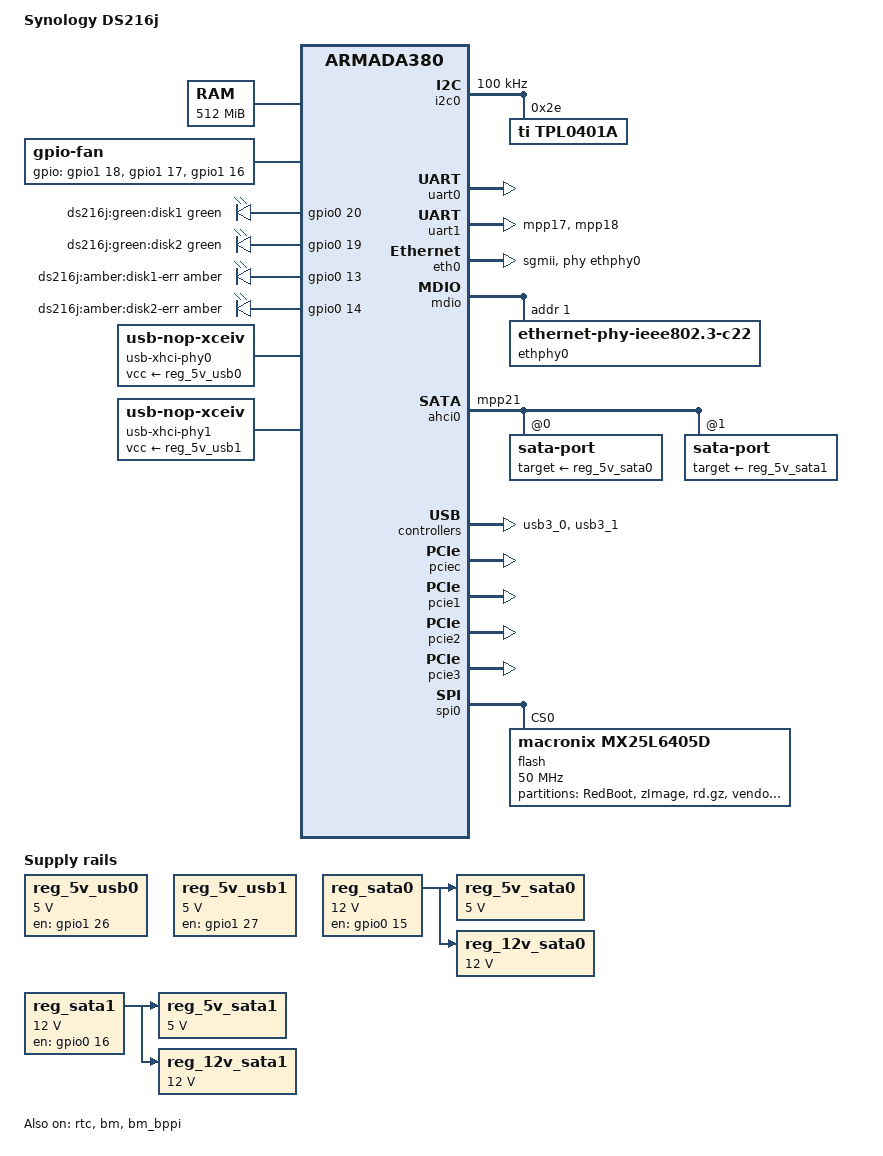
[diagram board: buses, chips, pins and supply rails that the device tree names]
/*
 * Device Tree file for Synology DS216j NAS
 *
 * Copyright (C) 2026 Alexei Evdokimenko <aevdokimenkosd@gmail.com>
 *
 * Based on Device Tree files for:
 *  - Synology DS216 NAS, by Robin DUBREUIL <robin@dubreuil.pro>
 *  - Synology DS116 NAS, by Willy Tarreau <w@1wt.eu>
 *
 * This program is free software; you can redistribute it and/or modify
 * it under the terms of the GNU General Public License as published by
 * the Free Software Foundation; either version 2 of the License, or
 * (at your option) any later version.
 */

/dts-v1/;
#include "armada-385.dtsi"
#include <dt-bindings/gpio/gpio.h>
#include <dt-bindings/leds/common.h>
#include <dt-bindings/input/input.h>

/ {
	model = "Synology DS216j";
	compatible = "synology,DS216j", "marvell,a385-gp", "marvell,armada385",
		     "marvell,armada380";

	chosen {
		stdout-path = "serial0:115200n8";
	};

	aliases {
		ethernet0 = &eth0;
		egiga0 = &eth0;
	};

	memory {
		device_type = "memory";
		reg = <0x00000000 0x20000000>; /* 512 MB */
	};

	soc {
		ranges = <MBUS_ID(0xf0, 0x01) 0 0xf1000000 0x100000
			  MBUS_ID(0x01, 0x1d) 0 0xfff00000 0x100000
			  MBUS_ID(0x09, 0x19) 0 0xf1100000 0x10000
			  MBUS_ID(0x09, 0x15) 0 0xf1110000 0x10000
			  MBUS_ID(0x0c, 0x04) 0 0xf1200000 0x100000>;

		internal-regs {
			poweroff@12100 {
				compatible = "synology,power-off";
				reg = <0x12100 0x100>;
				clocks = <&coreclk 0>;
			};
		};

		gpio-fan {
			compatible = "gpio-fan";
			pinctrl-0 = <&fan_ctrl_low_pins
				     &fan_ctrl_mid_pins
				     &fan_ctrl_high_pins>;
			pinctrl-names = "default";
			gpios = <&gpio1 18 GPIO_ACTIVE_HIGH>,
				<&gpio1 17 GPIO_ACTIVE_HIGH>,
				<&gpio1 16 GPIO_ACTIVE_HIGH>;

			/*
			 * WARNING! This binding causes systemd to consume a lot
			 * of CPU time. You must understand why you are
			 * uncommenting this line.
			 */
			//alarm-gpios = <&gpio1 20 GPIO_ACTIVE_HIGH>;

			/* This speed map must be adapted to your fan model. */
			gpio-fan,speed-map = <   0 0>,
					     < 400 1>,
					     < 900 2>,
					     <1300 3>,
					     <1700 4>,
					     <2100 5>,
					     <2500 6>,
					     <3000 7>;
			#cooling-cells = <2>;
		};

		/*
		 * NOTE: the LAN LED is defined not in this section, but below
		 * in the MDIO, because it is controlled directly from the PHY.
		 */
		gpio-leds {
			compatible = "gpio-leds";
			pinctrl-0 = <&led_green_disk1_pins
				     &led_green_disk2_pins
				     &led_amber_disk1_pins
				     &led_amber_disk2_pins>;

			/*
			 * The green LEDs for the disks were not accessible in
			 * the original device trees because pins 19 and 20
			 * were defined for UART1 and AHCI0. These pins are
			 * actually connected to a controller that drives the
			 * LEDs (at least in the DS216j model). Synology's GPL
			 * source code (see "pinctrl-armada-38x.c") hints that
			 * UART1 can be moved to pins 17 and 18, and AHCI0 to
			 * pin 21, so pins 19 and 20 can be freed up to access
			 * the LEDs.
			 *
			 * NOTE: Synology's "pinctrl-armada-38x.c" file differs
			 * from the one that comes with a modern Linux kernel.
			 *
			 * The config below reproduces the Synology's default
			 * behavior. The LEDs turn on when the disks are powered
			 * on at boot. The LEDs then blink during read/write
			 * activity. When the hd-idle service puts the disks
			 * into standby mode, the LEDs turn off. When the disks
			 * resume from standby, the LEDs turn on again.
			 *
			 * NOTE: an additional systemd unit is required to turn
			 * on/off the LEDs for hd-idle events. For details,
			 * see https://github.com/ae9o/diskstation-ledd
			 */

			led-green-disk1 {
				label = "ds216j:green:disk1";
				function = LED_FUNCTION_DISK;
				color = <LED_COLOR_ID_GREEN>;
				gpios = <&gpio0 20 GPIO_ACTIVE_HIGH>;
				linux,default-trigger = "ide-disk1";
				default-state = "keep";
			};

			led-green-disk2 {
				label = "ds216j:green:disk2";
				function = LED_FUNCTION_DISK;
				color = <LED_COLOR_ID_GREEN>;
				gpios = <&gpio0 19 GPIO_ACTIVE_HIGH>;
				linux,default-trigger = "ide-disk2";
				default-state = "keep";
			};

			led-amber-disk1-err {
				label = "ds216j:amber:disk1-err";
				function = LED_FUNCTION_DISK_ERR;
				color = <LED_COLOR_ID_AMBER>;
				gpios = <&gpio0 13 GPIO_ACTIVE_HIGH>;
				default-state = "off";
			};

			led-amber-disk2-err {
				label = "ds216j:amber:disk2-err";
				function = LED_FUNCTION_DISK_ERR;
				color = <LED_COLOR_ID_AMBER>;
				gpios = <&gpio0 14 GPIO_ACTIVE_HIGH>;
				default-state = "off";
			};
		};
	};

	usb-xhci-phy0 {
		compatible = "usb-nop-xceiv";
		vcc-supply = <&reg_5v_usb0>;
		#phy-cells = <0>;
	};

	usb-xhci-phy1 {
		compatible = "usb-nop-xceiv";
		vcc-supply = <&reg_5v_usb1>;
		#phy-cells = <0>;
	};

	reg_5v_usb0: reg-5v-usb0 {
		compatible = "regulator-fixed";
		pinctrl-names = "default";
		pinctrl-0 = <&reg_5v_usb0_pins>;
		regulator-name = "reg_5v_usb0";
		regulator-min-microvolt = <5000000>;
		regulator-max-microvolt = <5000000>;
		enable-active-high;
		regulator-always-on;
		regulator-boot-on;
		gpio = <&gpio1 26 GPIO_ACTIVE_HIGH>;
	};

	reg_5v_usb1: reg-5v-usb1 {
		compatible = "regulator-fixed";
		pinctrl-names = "default";
		pinctrl-0 = <&reg_5v_usb1_pins>;
		regulator-name = "reg_5v_usb1";
		regulator-min-microvolt = <5000000>;
		regulator-max-microvolt = <5000000>;
		enable-active-high;
		regulator-always-on;
		regulator-boot-on;
		gpio = <&gpio1 27 GPIO_ACTIVE_HIGH>;
	};

	reg_sata0: reg-sata0 {
		compatible = "regulator-fixed";
		pinctrl-names = "default";
		pinctrl-0 = <&reg_sata0_pins>;
		regulator-name = "reg_sata0";
		regulator-min-microvolt = <12000000>;
		regulator-max-microvolt = <12000000>;
		enable-active-high;
		regulator-always-on;
		startup-delay-us = <5000000>;
		gpio = <&gpio0 15 GPIO_ACTIVE_HIGH>;
		regulator-state-mem {
			regulator-off-in-suspend;
		};
	};

	reg_5v_sata0: reg-5v-sata0 {
		compatible = "regulator-fixed";
		regulator-name = "reg_5v_sata0";
		regulator-min-microvolt = <5000000>;
		regulator-max-microvolt = <5000000>;
		vin-supply = <&reg_sata0>;
	};

	reg_12v_sata0: reg-12v-sata0 {
		compatible = "regulator-fixed";
		regulator-name = "reg_12v_sata0";
		regulator-min-microvolt = <12000000>;
		regulator-max-microvolt = <12000000>;
		vin-supply = <&reg_sata0>;
	};

	reg_sata1: reg_sata1 {
		compatible = "regulator-fixed";
		pinctrl-names = "default";
		pinctrl-0 = <&reg_sata1_pins>;
		regulator-name = "reg_sata1";
		regulator-min-microvolt = <12000000>;
		regulator-max-microvolt = <12000000>;
		enable-active-high;
		regulator-always-on;
		startup-delay-us = <5000000>;
		gpio = <&gpio0 16 GPIO_ACTIVE_HIGH>;
		regulator-state-mem {
			regulator-off-in-suspend;
		};
	};

	reg_5v_sata1: reg-5v-sata1 {
		compatible = "regulator-fixed";
		regulator-name = "reg_5v_sata1";
		regulator-min-microvolt = <5000000>;
		regulator-max-microvolt = <5000000>;
		vin-supply = <&reg_sata1>;
	};

	reg_12v_sata1: reg-12v-sata1 {
		compatible = "regulator-fixed";
		regulator-name = "reg_12v_sata1";
		regulator-min-microvolt = <12000000>;
		regulator-max-microvolt = <12000000>;
		vin-supply = <&reg_sata1>;
	};
};

&i2c0 {
	status = "okay";
	clock-frequency = <100000>;
	pinctrl-names = "default";
	pinctrl-0 = <&i2c0_pins>;

	/*
	 * Single-channel digital potentiometer TI TPL0401A controls LED
	 * brightness. It appears there's no standard driver for this
	 * potentiometer. However, its registers can be written directly using
	 * i2c-tools:
	 * 
	 *   # Unlock brightness control.
	 *   i2cset -y 0 0x2e 0xff 0xff
	 *
	 *   # Set brightness.
	 *   i2cset -y 0 0x2e 0x00 <0xff|0xaa|0xa0|0x80>
	 *   #                         brighter -->
	 */
	tpl0401a@2e {
		compatible = "ti,tpl0401a";
		reg = <0x2e>;
	};
};

&uart0 {
	status = "okay";
	pinctrl-names = "default";
	pinctrl-0 = <&uart0_pins>;
};

&uart1 {
	/*
	 * A PIC16F1829 is connected to UART1 at 9600 bps, and takes
	 * single-character orders:
	 *   "1" : power off // already handled by the poweroff node
	 *   "2" : short beep
	 *   "3" : long beep
	 *   "4" : turn the power LED ON
	 *   "5" : flash the power LED
	 *   "6" : turn the power LED OFF
	 *   "7" : turn the status LED OFF
	 *   "8" : turn the status LED ON
	 *   "9" : flash the status LED
	 *   "A" : flash the motherboard LED (D8)
	 *   "B" : turn the motherboard LED OFF
	 *   "C" : hard reset
	 *
	 * In addition, UART1 is used to receive single-character messages
	 * from the PIC16F1829 indicating that the power/reset buttons on
	 * the device chassis have been pressed. In the original Sinology
	 * DSM OS, the "scemd" daemon, whose code is not licensed under the
	 * GPL, is responsible for handling these messages.
	 *
	 * It is important to specify the correct pins for this device,
	 * otherwise messages will not arrive.
	 *
	 * Here's an example of how these messages can be processed using bash:
	 *
	 *   # Read one byte from UART1.
	 *   LANG=C IFS= read -r -d '' -n 1 message < /dev/ttyS1
	 *
	 *   case $message in
	 *     $'\x30')
	 *       echo "Poweroff pressed"
	 *       poweroff
	 *       ;;
	 *     $'\x61')
	 *       echo "Reset pressed"
	 *       echo C > /dev/ttyS1
	 *       ;;
	 *   esac
	 *
	 * For details, see https://github.com/ae9o/diskstation-keyd
	 */
	status = "okay";
	pinctrl-names = "default";
	pinctrl-0 = <&uart1_pins>;
};

&eth0 {
	status = "okay";
	phy-handle = <&ethphy0>;
	phy-mode = "sgmii";
	buffer-manager = <&bm>;
	bm,pool-long = <0>;
	bm,pool-short = <1>;
	max-speed = <1000>;
};

&mdio {
	status = "okay";
	pinctrl-names = "default";
	pinctrl-0 = <&mdio_pins>;

	ethphy0: ethernet-phy@1 {
		compatible = "ethernet-phy-ieee802.3-c22";
		reg = <1>;
		max-speed = <1000>;

		/*
		 * This LED cannot be listed in the "gpio-leds" section because
		 * it is controlled directly from the PHY.
		 */
		leds {
			#address-cells = <1>;
			#size-cells = <0>;

			led-green-lan@0 {
				reg = <0>;
				color = <LED_COLOR_ID_GREEN>;
				function = LED_FUNCTION_LAN;
				default-state = "keep";

				/*
				 * This trigger requires additional
				 * configuration after the NAS boots.
				 *
				 * Add these lines to the "/etc/rc.local" file:
				 *
				 *   LED="/sys/class/leds/f1072004.mdio-mii:01:green:lan"
				 *   echo 1 > $LED/link
				 *   echo 1 > $LED/tx
				 *   echo 1 > $LED/rx
				 *   echo end0 > $LED/device_name
				 *
				 * WARNING! For older distros, you may need to
				 * use "eth0" instead of "end0" as the device
				 * name.
				 *
				 * WARNING! DO NOT "echo netdev > trigger" in
				 * the "/etc/rc.local" file. Leave this
				 * assignment in the DTS. Otherwise, trigger
				 * won't work as intended.
				 */
				linux,default-trigger = "netdev";
			};
		};
	};
};

&ahci0 {
	status = "okay";
	pinctrl-names = "default";
	pinctrl-0 = <&ahci0_pins>;

	sata-port@0 {
		reg = <0>;
		target-supply = <&reg_5v_sata0>;
	};

	sata-port@1 {
		reg = <1>;
		target-supply = <&reg_5v_sata1>;
	};
};

/*
 * There is no SEIKO RTC chip in the DS216j model.
 * The device uses the built-in MVEBU RTC.
 */
&rtc {
	status = "okay";
};

&bm {
	status = "okay";
};

&bm_bppi {
	status = "okay";
};

&usb3_0 {
	status = "okay";
};

&usb3_1 {
	status = "okay";
};

&pciec {
	status = "okay";
};

&pcie1 {
	status = "okay";
};

&pcie2 {
	status = "okay";
};

&pcie3 {
	status = "okay";
};

&spi0 {
	status = "okay";
	pinctrl-names = "default";
	pinctrl-0 = <&spi0_pins>;

	flash@0 {
		#address-cells = <1>;
		#size-cells = <1>;
		compatible = "macronix,mx25l6405d", "jedec,spi-nor";
		reg = <0>;
		spi-max-frequency = <50000000>;
		m25p,fast-read;

		/*
		 * This is the default partiotion table for Synology DSM.
		 *
		 * NOTE: there is a redboot partition table despite u-boot
		 * being used. The names presented here are the same as those
		 * found in the FIS directory. There is also a small device
		 * tree in the last 64kB of the RedBoot partition which is not
		 * enumerated. The MAC address and the serial number are listed
		 * in the "vendor" partition.
		 */
		partition@0 {
			label = "RedBoot";
			reg = <0x00000000 0x000f0000>;
			read-only;
		};

		partition@c0000 {
			label = "zImage";
			reg = <0x000f0000 0x002d0000>;
		};

		partition@390000 {
			label = "rd.gz";
			reg = <0x003c0000 0x00410000>;
		};

		partition@7d0000 {
			label = "vendor";
			reg = <0x007d0000 0x00010000>;
			read-only;
		};

		partition@7e0000 {
			label = "RedBoot config";
			reg = <0x007e0000 0x00010000>;
			read-only;
		};

		partition@7f0000 {
			label = "FIS directory";
			reg = <0x007f0000 0x00010000>;
			read-only;
		};

		/*
		 * This partition table is used when installing Debian instead
		 * of Synology DSM.
		 */
		//partition@0 { /* 896 KB */
		//	label = "u-boot";
		//	reg = <0x00000000 0x000e0000>;
		//	read-only;
		//};

		//partition@e0000 { /* 64 KB */
		//	label = "dtb";
		//	reg = <0x000e0000 0x00010000>;
		//	read-only;
		//};

		//partition@f0000 { /* 7104 KB */
		//	label = "kernel";
		//	reg = <0x000f0000 0x006f0000>;
		//};

		//partition@7d0000 { /* 128 KB */
		//	label = "env";
		//	reg = <0x007e0000 0x00020000>;
		//	read-only;
		//};
	};
};

&pinctrl {
	/*
	 * To access the disks' green LEDs, pins 19 and 20 must be freed here.
	 * Synology's GPL source code (see "pinctrl-armada-38x.c") contains a
	 * hint that UART1 can be moved to pins 17 and 18. These pins are
	 * vacant in the DS216j model. You may need to choose another pair for
	 * a different DiskStation model.
	 */
	uart1_pins: uart-pins-1 {
		marvell,pins = "mpp17", "mpp18";
		marvell,function = "ua1";
	};

	led_amber_disk1_pins: led-pins-0 {
		marvell,pins = "mpp13";
		marvell,function = "gpio";
	};

	led_amber_disk2_pins: led-pins-1 {
		marvell,pins = "mpp14";
		marvell,function = "gpio";
	};

	reg_sata0_pins: reg-sata-pins-0 {
		marvell,pins = "mpp15";
		marvell,function = "gpio";
	};

	reg_sata1_pins: reg-sata-pins-1 {
		marvell,pins = "mpp16";
		marvell,function = "gpio";
	};

	led_green_disk2_pins: led-pins-2 {
		marvell,pins = "mpp19";
		marvell,function = "gpio";
	};

	led_green_disk1_pins: led-pins-3 {
		marvell,pins = "mpp20";
		marvell,function = "gpio";
	};

	/*
	 * According to the Synology's "pinctrl-armada-38x.c" file, moving this
	 * binding from pin 20 to pin 21 allows access to the disk's green LED.
	 */
	ahci0_pins: ahci-pins-0 {
		marvell,pins = "mpp21";
		marvell,function = "sata0";
	};

	fan_ctrl_high_pins: fan-ctrl-pins-0 {
		marvell,pins = "mpp48";
		marvell,function = "gpio";
	};

	fan_ctrl_mid_pins: fan-ctrl-pins-1 {
		marvell,pins = "mpp49";
		marvell,function = "gpio";
	};

	fan_ctrl_low_pins: fan-ctrl-pins-2 {
		marvell,pins = "mpp50";
		marvell,function = "gpio";
	};

	reg_5v_usb0_pins: reg-5v-usb-pins-0 {
		marvell,pins = "mpp58";
		marvell,function = "gpio";
	};

	reg_5v_usb1_pins: reg-5v-usb-pins-1 {
		marvell,pins = "mpp59";
		marvell,function = "gpio";
	};
};
